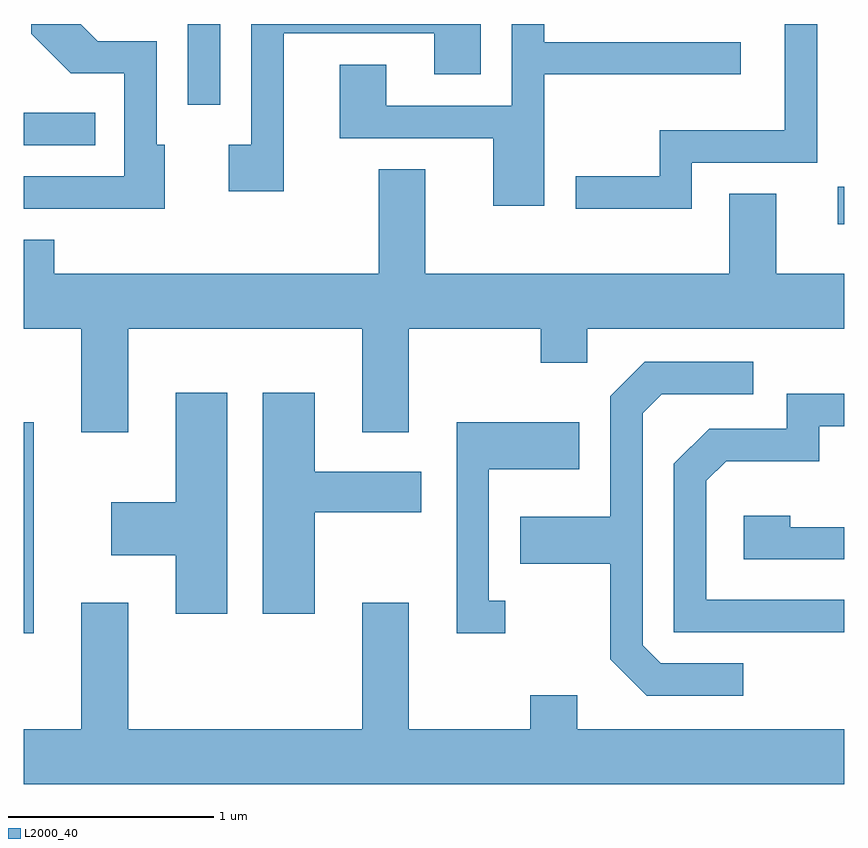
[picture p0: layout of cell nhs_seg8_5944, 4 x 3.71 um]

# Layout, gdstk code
import gdstk
lib = gdstk.Library(unit=1e-6, precision=1e-09)
def R(c, l, rs):  # rectangles x0, y0, x1, y1
    for r in rs: c.add(gdstk.rectangle(r[:2], r[2:], *l))
def P(c, l, *ps):  # polygons
    for p in ps: c.add(gdstk.Polygon(p, *l))
L2000_40 = (2000, 40)

nhs_seg8_5944 = lib.new_cell('nhs_seg8_5944')
R(nhs_seg8_5944, L2000_40, [(363.611,1839.371,363.659,1840.399), (367.581,1841.366,367.611,1841.549), (363.611,1841.751,363.958,1841.909), (364.411,1841.948,364.569,1842.342)])
P(nhs_seg8_5944, L2000_40, [(366.149,1842.096),(367.108,1842.096),(367.108,1842.254),(366.149,1842.254),(366.149,1842.342),(365.991,1842.342),(365.991,1841.944),(365.379,1841.944),(365.379,1842.144),(365.151,1842.144),(365.151,1841.786),(365.901,1841.786),(365.901,1841.456),(366.149,1841.456)],
  [(366.869,1841.666),(367.479,1841.666),(367.479,1842.342),(367.321,1842.342),(367.321,1841.824),(366.711,1841.824),(366.711,1841.599),(366.303,1841.599),(366.303,1841.441),(366.869,1841.441)],
  [(364.879,1842.296),(365.611,1842.296),(365.611,1842.096),(365.839,1842.096),(365.839,1842.342),(364.721,1842.342),(364.721,1841.754),(364.611,1841.754),(364.611,1841.526),(364.879,1841.526)],
  [(364.299,1841.754),(364.259,1841.754),(364.259,1842.259),(363.972,1842.259),(363.889,1842.342),(363.646,1842.342),(363.646,1842.294),(363.839,1842.101),(364.101,1842.101),(364.101,1841.599),(363.611,1841.599),(363.611,1841.441),(364.299,1841.441)],
  [(364.119,1840.856),(365.261,1840.856),(365.261,1840.351),(365.489,1840.351),(365.489,1840.856),(366.131,1840.856),(366.131,1840.691),(366.359,1840.691),(366.359,1840.856),(367.611,1840.856),(367.611,1841.124),(367.279,1841.124),(367.279,1841.514),(367.051,1841.514),(367.051,1841.124),(365.569,1841.124),(365.569,1841.634),(365.341,1841.634),(365.341,1841.124),(363.759,1841.124),(363.759,1841.289),(363.611,1841.289),(363.611,1840.856),(363.891,1840.856),(363.891,1840.351),(364.119,1840.351)],
  [(367.118,1839.224),(366.717,1839.224),(366.629,1839.312),(366.629,1840.444),(366.722,1840.536),(367.168,1840.536),(367.168,1840.694),(366.639,1840.694),(366.471,1840.527),(366.471,1839.939),(366.031,1839.939),(366.031,1839.711),(366.471,1839.711),(366.471,1839.244),(366.649,1839.066),(367.118,1839.066)],
  [(364.604,1840.544),(364.351,1840.544),(364.351,1840.009),(364.036,1840.009),(364.036,1839.751),(364.351,1839.751),(364.351,1839.466),(364.604,1839.466)],
  [(365.029,1839.961),(365.549,1839.961),(365.549,1840.159),(365.029,1840.159),(365.029,1840.544),(364.776,1840.544),(364.776,1839.466),(365.029,1839.466)],
  [(367.611,1839.534),(366.939,1839.534),(366.939,1840.114),(367.037,1840.211),(367.489,1840.211),(367.489,1840.381),(367.611,1840.381),(367.611,1840.539),(367.331,1840.539),(367.331,1840.369),(366.954,1840.369),(366.781,1840.197),(366.781,1839.376),(367.611,1839.376)],
  [(365.958,1839.529),(365.879,1839.529),(365.879,1840.171),(366.319,1840.171),(366.319,1840.399),(365.721,1840.399),(365.721,1839.371),(365.958,1839.371)],
  [(367.611,1839.889),(367.349,1839.889),(367.349,1839.944),(367.121,1839.944),(367.121,1839.731),(367.611,1839.731)],
  [(367.611,1838.904),(366.309,1838.904),(366.309,1839.069),(366.081,1839.069),(366.081,1838.904),(365.489,1838.904),(365.489,1839.519),(365.261,1839.519),(365.261,1838.904),(364.119,1838.904),(364.119,1839.519),(363.891,1839.519),(363.891,1838.904),(363.611,1838.904),(363.611,1838.636),(367.611,1838.636)])

lib.write_gds('nhs_seg8_5944.gds')
